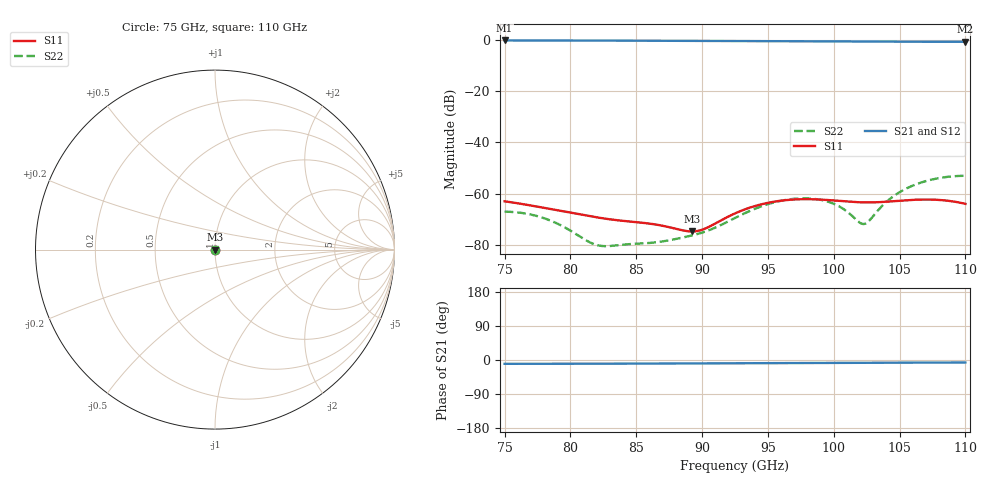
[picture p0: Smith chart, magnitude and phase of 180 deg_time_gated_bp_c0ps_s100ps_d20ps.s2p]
# Hz S RI R 50.000000
! Metas.Vna.Tools, 2.4.7724.19584
! Metas.Vna.Data, 2.4.7724.19560
! Created: UTC 2021.04.29 12:40:11
! FREQ  re:S1,1  im:S1,1  re:S2,1  im:S2,1  re:S1,2  im:S1,2  re:S2,2  im:S2,2
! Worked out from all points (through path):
!   1401 points, 75 GHz to 110 GHz, reference 50 ohm
!   highest |S21| = 0.00 dB at 75 GHz (marker M1); lowest = -0.5 dB at 110 GHz (marker M2)
!   lowest |S11| = -74.9 dB at 89.22 GHz (marker M3), VSWR 1.00, Z = 50 + j0.00804 ohm
!   |S11| at or under -10 dB: start of sweep to end of sweep
!   |S22| runs from -80.6 to -53.0 dB; largest |S21 - S12| = 0.026
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7.5e10  1.42e-05 -0.000704  0.9841 -0.1747  0.9821 -0.1883  -0.000438 3.95e-05
7.6525e10  -0.000138 -0.000595  0.9839 -0.1745  0.982 -0.1879  -0.000407 2.97e-05
7.7975e10  -0.000262 -0.000456  0.9834 -0.1738  0.9816 -0.1871  -0.00033 5.27e-06
7.9325e10  -0.000337 -0.000304  0.9826 -0.1728  0.9809 -0.1858  -0.000233 -2.48e-05
8.085e10  -0.000364 -0.000125  0.9813 -0.1712  0.98 -0.1838  -0.000124 -5.87e-05
8.2e10  -0.000341 3.55e-06  0.9801 -0.1697  0.9791 -0.1819  -5.74e-05 -7.92e-05
8.6675e10  -1.34e-05 0.000242  0.9734 -0.1609  0.9736 -0.1722  -2.06e-05 -0.00011
8.9225e10  0.000162 8.04e-05  0.9686 -0.1546  0.9695 -0.1661  -3.1e-05 -0.000147
9.0225e10  0.000203 -3.33e-05  0.9666 -0.152  0.9677 -0.1636  -2.61e-07 -0.000179
9.25e10  0.00022 -0.000343  0.9617 -0.1455  0.9633 -0.1581  0.000173 -0.000283
9.4e10  0.000173 -0.00054  0.9585 -0.141  0.9603 -0.1546  0.000348 -0.000359
9.5575e10  7.98e-05 -0.000694  0.955 -0.1363  0.957 -0.1512  0.000539 -0.000416
9.7e10  -3.61e-05 -0.000763  0.9519 -0.1321  0.954 -0.1483  0.000666 -0.000421
9.835e10  -0.000165 -0.000755  0.9491 -0.1283  0.9512 -0.1457  0.000705 -0.000364
1.00225e11  -0.000358 -0.000628  0.9455 -0.1232  0.9476 -0.1427  0.000569 -0.000166
1.0225e11  -0.000553 -0.000379  0.942 -0.1184  0.9441 -0.1399  0.00016 0.000196
1.0265e11  -0.000587 -0.000322  0.9414 -0.1176  0.9435 -0.1394  5.12e-05 0.000281
1.04175e11  -0.000689 -0.0001  0.9393 -0.1146  0.9413 -0.1379  -0.000413 0.000627
1.0535e11  -0.000731 6e-05  0.938 -0.1128  0.9399 -0.1369  -0.00079 0.000893
1.06725e11  -0.000731 0.000218  0.9368 -0.1111  0.9387 -0.1361  -0.00119 0.00117
1.083e11  -0.000654 0.000342  0.9359 -0.1099  0.9378 -0.1355  -0.00153 0.00139
1.1e11  -0.000482 0.000402  0.9356 -0.1094  0.9374 -0.1352  -0.00166 0.00148
